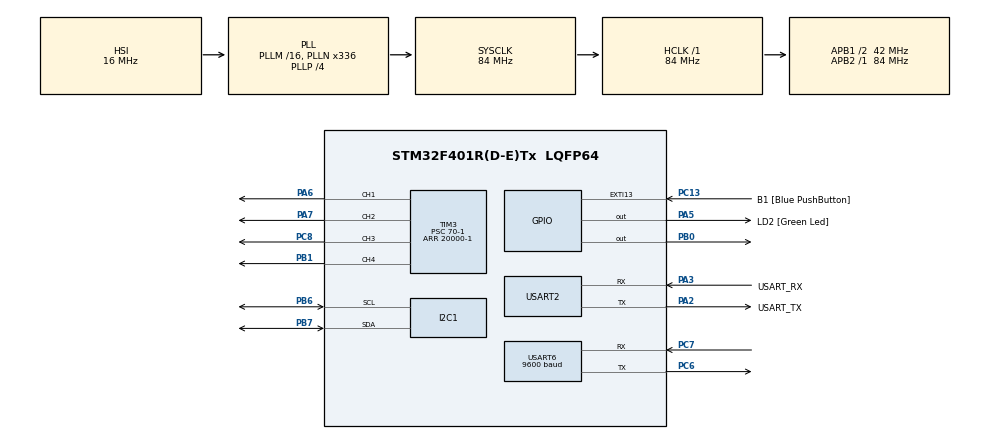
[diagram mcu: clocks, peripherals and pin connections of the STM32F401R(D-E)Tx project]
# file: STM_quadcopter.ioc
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Mcu.Family=STM32F4
Mcu.Name=STM32F401R(D-E)Tx
Mcu.Package=LQFP64
NVIC.EXTI15_10_IRQn=true\:0\:0\:false\:false\:true\:true\:true
NVIC.FPU_IRQn=true\:0\:0\:false\:false\:true\:true\:false
NVIC.PVD_IRQn=true\:0\:0\:false\:false\:true\:true\:true
NVIC.PriorityGroup=NVIC_PRIORITYGROUP_0
NVIC.TIM1_UP_TIM10_IRQn=true\:0\:0\:false\:false\:true\:true\:true
NVIC.USART6_IRQn=true\:0\:0\:false\:false\:true\:true\:true
PA13.GPIO_Label=TMS
PA13.Mode=Serial_Wire
PA13.Signal=SYS_JTMS-SWDIO
PA14.GPIO_Label=TCK
PA14.Mode=Serial_Wire
PA14.Signal=SYS_JTCK-SWCLK
PA2.GPIO_Label=USART_TX
PA2.GPIO_Mode=GPIO_MODE_AF_PP
PA2.GPIO_PuPd=GPIO_NOPULL
PA2.GPIO_Speed=GPIO_SPEED_FREQ_MEDIUM
PA2.Mode=Asynchronous
PA2.Signal=USART2_TX
PA3.GPIO_Label=USART_RX
PA3.GPIO_Mode=GPIO_MODE_AF_PP
PA3.GPIO_PuPd=GPIO_NOPULL
PA3.GPIO_Speed=GPIO_SPEED_FREQ_MEDIUM
PA3.Mode=Asynchronous
PA3.Signal=USART2_RX
PA5.GPIO_Label=LD2 [Green Led]
PA5.GPIO_Mode=GPIO_MODE_OUTPUT_PP
PA5.GPIO_PuPd=GPIO_NOPULL
PA5.GPIO_Speed=GPIO_SPEED_FREQ_LOW
PA5.Signal=GPIO_Output
PA6.Signal=S_TIM3_CH1
PA7.Signal=S_TIM3_CH2
PB0.Signal=GPIO_Output
PB1.Signal=S_TIM3_CH4
PB3.GPIO_Label=SWO
PB3.Signal=SYS_JTDO-SWO
PB6.GPIO_Pu=GPIO_PULLUP
PB6.Mode=I2C
PB6.Signal=I2C1_SCL
PB7.GPIO_Pu=GPIO_PULLUP
PB7.Mode=I2C
PB7.Signal=I2C1_SDA
PC13-ANTI_TAMP.GPIO_Label=B1 [Blue PushButton]
PC13-ANTI_TAMP.GPIO_ModeDefaultEXTI=GPIO_MODE_IT_FALLING
PC13-ANTI_TAMP.GPIO_PuPd=GPIO_NOPULL
PC13-ANTI_TAMP.Signal=GPXTI13
PC14-OSC32_IN.Mode=LSE-External-Oscillator
PC14-OSC32_IN.Signal=RCC_OSC32_IN
PC15-OSC32_OUT.Mode=LSE-External-Oscillator
PC15-OSC32_OUT.Signal=RCC_OSC32_OUT
PC6.Mode=Asynchronous
PC6.Signal=USART6_TX
PC7.Mode=Asynchronous
PC7.Signal=USART6_RX
PC8.Signal=S_TIM3_CH3
PH0\ -\ OSC_IN.Mode=HSE-External-Clock-Source
PH0\ -\ OSC_IN.Signal=RCC_OSC_IN
PH1\ -\ OSC_OUT.Mode=HSE-External-Clock-Source
PH1\ -\ OSC_OUT.Signal=RCC_OSC_OUT
ProjectManager.HeapSize=0x200
ProjectManager.StackSize=0x400
ProjectManager.TargetToolchain=STM32CubeIDE
RCC.48MHZClocksFreq_Value=48000000
RCC.AHBFreq_Value=84000000
RCC.APB1CLKDivider=RCC_HCLK_DIV2
RCC.APB1Freq_Value=42000000
RCC.APB1TimFreq_Value=84000000
RCC.APB2Freq_Value=84000000
RCC.APB2TimFreq_Value=84000000
RCC.CortexFreq_Value=84000000
RCC.HCLKFreq_Value=84000000
RCC.HSE_VALUE=8000000
RCC.HSI_VALUE=16000000
RCC.PLLN=336
RCC.PLLP=RCC_PLLP_DIV4
RCC.PLLQ=7
RCC.SYSCLKFreq_VALUE=84000000
RCC.SYSCLKSource=RCC_SYSCLKSOURCE_PLLCLK
RCC.VCOOutputFreq_Value=336000000
SH.S_TIM3_CH1.0=TIM3_CH1,PWM Generation1 CH1
SH.S_TIM3_CH2.0=TIM3_CH2,PWM Generation2 CH2
SH.S_TIM3_CH3.0=TIM3_CH3,PWM Generation3 CH3
SH.S_TIM3_CH4.0=TIM3_CH4,PWM Generation4 CH4
TIM10.Period=10-1
TIM10.Prescaler=33600-1
TIM3.AutoReloadPreload=TIM_AUTORELOAD_PRELOAD_ENABLE
TIM3.Channel-PWM\ Generation1\ CH1=TIM_CHANNEL_1
TIM3.Channel-PWM\ Generation2\ CH2=TIM_CHANNEL_2
TIM3.Channel-PWM\ Generation3\ CH3=TIM_CHANNEL_3
TIM3.Channel-PWM\ Generation4\ CH4=TIM_CHANNEL_4
TIM3.Period=20000-1
TIM3.Prescaler=70-1
USART2.VirtualMode=VM_ASYNC
USART6.BaudRate=9600
USART6.VirtualMode=VM_ASYNC
VP_TIM10_VS_ClockSourceINT.Mode=Enable_Timer
VP_TIM3_VS_ClockSourceINT.Mode=Internal
board=NUCLEO-F401RE

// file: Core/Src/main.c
/* USER CODE BEGIN Header */
/**
  ******************************************************************************
  * @file           : main.c
  * @brief          : Main program body
  ******************************************************************************
  * @attention
  *
  * <h2><center>&copy; Copyright (c) 2021 STMicroelectronics.
  * All rights reserved.</center></h2>
  *
  * This software component is licensed by ST under BSD 3-Clause license,
  * the "License"; You may not use this file except in compliance with the
  * License. You may obtain a copy of the License at:
  *                        opensource.org/licenses/BSD-3-Clause
  *
  ******************************************************************************
  */
/* USER CODE END Header */
#include "main.h"
#include "i2c.h"
#include "tim.h"
#include "usart.h"
#include "gpio.h"

/* USER CODE BEGIN Includes */
#include <stdio.h>
#include <string.h>

// My libraries
#include "ESC_ctrl.h"
#include "debug.h"
/* USER CODE END Includes */

/* USER CODE BEGIN PD */
#define RX_MSG_LEN 3
/* USER CODE END PD */

/* USER CODE BEGIN PV */

// DEBUG MESSAGES

// RECEIVE INFO MESSAGE
uint8_t msgRx[RX_MSG_LEN];

//Define flags
int BLUE_BUTTON = 0;
int BLUETOOTH_FLAG = 0;

// CONTAINERS
int dutyCycle = 0;
int dummy=0;

IMU_MEASURE MPU_measure;

/* USER CODE END PV */

void SystemClock_Config(void);

int main(void)
{

  /* MCU Configuration--------------------------------------------------------*/

  /* Reset of all peripherals, Initializes the Flash interface and the Systick. */
  HAL_Init();

  /* Configure the system clock */
  SystemClock_Config();

  /* Initialize all configured peripherals */
  MX_GPIO_Init();
  MX_USART2_UART_Init();
  MX_USART6_UART_Init();
  MX_TIM3_Init();
  MX_I2C1_Init();
  MX_TIM10_Init();
  /* USER CODE BEGIN 2 */

  //PRINTF("\n\r BEGINNING OF THE CODE \n\n\r");

  // Start timer interrupt that enables the GYRO reading 250 Hz
  HAL_TIM_Base_Start_IT(&htim10);

  // Start timer for the PWM signal
  HAL_TIM_PWM_Start(&htim3, TIM_CHANNEL_1);
  HAL_TIM_PWM_Start(&htim3, TIM_CHANNEL_2);
  HAL_TIM_PWM_Start(&htim3, TIM_CHANNEL_3);
  HAL_TIM_PWM_Start(&htim3, TIM_CHANNEL_4);

  // Start interrupt for bluetooth Rx commands
  HAL_UART_Receive_IT(&huart6, (uint8_t*)cmd_rx, 1);

  ESC_CONF ESC_speed;

  ESC_Calibrate(&ESC_speed);

  //PRINTF(" -- Press blue button to start the code \n\n\r");
  while(BLUE_BUTTON==0){
	  if(BLUE_BUTTON==1){
		  break;
	  }
  }

  MPU6050_Init();
  MPU6050_Reset(&MPU_measure);

  ESC_Init(&ESC_speed);

  /* USER CODE END 2 */

  /* Infinite loop */
  /* USER CODE BEGIN WHILE */
  while (1)
  {

	  if(ACC_STATE == READY && GYRO_STATE == READY){
		  //int lengh = sprintf(messaggio, "ACC: x %f, y %f \n\r FL %d  -  FR %d  -  RL %d - RR %d \r\n", MPU_measure.angle_X, MPU_measure.angle_Y, ESC_speed.FL, ESC_speed.FR, ESC_speed.RL, ESC_speed.RR);
		  //HAL_UART_Transmit(&huart2, (uint8_t*)messaggio, lengh, 50);
	  }

	  // Receive the command from the radio/bl controller
	  if(BLUETOOTH_FLAG == 1){

		  //msgLen = sprintf(msgDebug, "\n\r   FRONTT LEFT %d  -  FRONT RIGHT %d  -  REAR LEFT %d - REAR RIGHT %d \r\n", ESC_speed.FL, ESC_speed.FR, ESC_speed.RL, ESC_speed.RR);
		  //HAL_UART_Transmit(&huart2, (uint8_t*)msgDebug, msgLen, 10);

		  BLUETOOTH_FLAG = 0;
	  }else{
		  cmd_rx[0] = ' ';
	  }

	  ESC_followCmd(&ESC_speed, &MPU_measure, cmd_rx[0]);
	  ESC_setSpeed(&ESC_speed);

	  //msgLen = sprintf(msgDebug, "\r CIAO");
	  //HAL_UART_Transmit(&huart2, (uint8_t*)msgDebug, msgLen, 10);

		char message[50];
		int length = 0;

		length = sprintf(message, "%f, %f, %f \r", MPU_measure.angle_X, MPU_measure.angle_Y, MPU_measure.angle_Z);
		HAL_UART_Transmit(&huart2, (uint8_t*)message, length, 10);

    /* USER CODE END WHILE */

  }
}

void SystemClock_Config(void)
{
  RCC_OscInitTypeDef RCC_OscInitStruct = {0};
  RCC_ClkInitTypeDef RCC_ClkInitStruct = {0};

  /** Configure the main internal regulator output voltage
  */
  __HAL_RCC_PWR_CLK_ENABLE();
  __HAL_PWR_VOLTAGESCALING_CONFIG(PWR_REGULATOR_VOLTAGE_SCALE2);
  /** Initializes the RCC Oscillators according to the specified parameters
  * in the RCC_OscInitTypeDef structure.
  */
  RCC_OscInitStruct.OscillatorType = RCC_OSCILLATORTYPE_HSI;
  RCC_OscInitStruct.HSIState = RCC_HSI_ON;
  RCC_OscInitStruct.HSICalibrationValue = RCC_HSICALIBRATION_DEFAULT;
  RCC_OscInitStruct.PLL.PLLState = RCC_PLL_ON;
  RCC_OscInitStruct.PLL.PLLSource = RCC_PLLSOURCE_HSI;
  RCC_OscInitStruct.PLL.PLLM = 16;
  RCC_OscInitStruct.PLL.PLLN = 336;
  RCC_OscInitStruct.PLL.PLLP = RCC_PLLP_DIV4;
  RCC_OscInitStruct.PLL.PLLQ = 7;
  if (HAL_RCC_OscConfig(&RCC_OscInitStruct) != HAL_OK)
  {
    Error_Handler();
  }
  /** Initializes the CPU, AHB and APB buses clocks
  */
  RCC_ClkInitStruct.ClockType = RCC_CLOCKTYPE_HCLK|RCC_CLOCKTYPE_SYSCLK
                              |RCC_CLOCKTYPE_PCLK1|RCC_CLOCKTYPE_PCLK2;
  RCC_ClkInitStruct.SYSCLKSource = RCC_SYSCLKSOURCE_PLLCLK;
  RCC_ClkInitStruct.AHBCLKDivider = RCC_SYSCLK_DIV1;
  RCC_ClkInitStruct.APB1CLKDivider = RCC_HCLK_DIV2;
  RCC_ClkInitStruct.APB2CLKDivider = RCC_HCLK_DIV1;

  if (HAL_RCC_ClockConfig(&RCC_ClkInitStruct, FLASH_LATENCY_2) != HAL_OK)
  {
    Error_Handler();
  }
}

/* USER CODE BEGIN 4 */

// Interrupt from the timer
void HAL_TIM_PeriodElapsedCallback(TIM_HandleTypeDef *htim){

	if(htim == &htim10){
		MPU6050_ReadAcc(&MPU_measure);
		MPU6050_ReadGyro(&MPU_measure);
		MPU6050_ComplementFilter(&MPU_measure);
	}
}

// Interrupt from bluetooth
void HAL_UART_RxCpltCallback(UART_HandleTypeDef * huart){

	if(BLUETOOTH_FLAG==0){
		BLUETOOTH_FLAG = 1;
	}

	HAL_UART_Receive_IT(&huart6, (uint8_t*)cmd_rx, 1);
}

void HAL_GPIO_EXTI_Callback(uint16_t GPIO_Pin){

	if(GPIO_Pin == B1_Pin){
		if(BLUE_BUTTON == 0){
			BLUE_BUTTON=1;
		}
	}

}

/* USER CODE END 4 */

void Error_Handler(void)
{
  __disable_irq();
  while (1)
  {
  }
}

/************************ (C) COPYRIGHT STMicroelectronics *****END OF FILE****/
